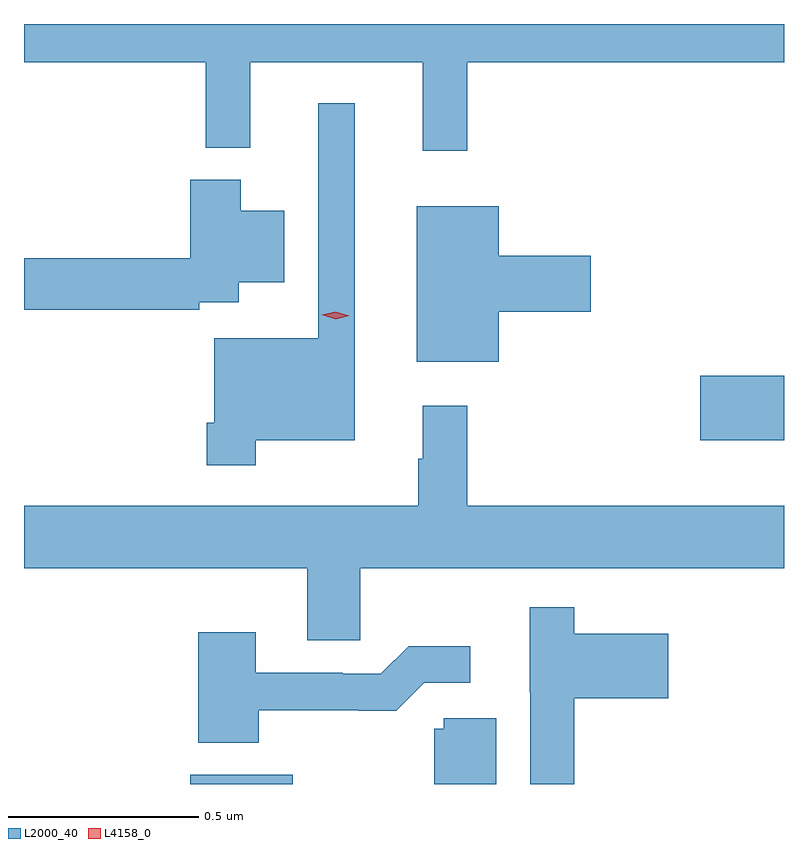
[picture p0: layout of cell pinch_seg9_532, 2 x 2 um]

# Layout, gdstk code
import gdstk
lib = gdstk.Library(unit=1e-6, precision=1e-09)
def R(c, l, rs):  # rectangles x0, y0, x1, y1
    for r in rs: c.add(gdstk.rectangle(r[:2], r[2:], *l))
def P(c, l, *ps):  # polygons
    for p in ps: c.add(gdstk.Polygon(p, *l))
L2000_40 = (2000, 40)
L4158_0 = (4158, 0)

pinch_seg9_532 = lib.new_cell('pinch_seg9_532')
R(pinch_seg9_532, L2000_40, [(273.68,1193.188,273.95,1193.212), (275.022,1194.092,275.243,1194.263)])
P(pinch_seg9_532, L2000_40, [(273.243,1195.088),(273.721,1195.088),(273.721,1194.863),(273.839,1194.863),(273.839,1195.088),(274.292,1195.088),(274.292,1194.855),(274.409,1194.855),(274.409,1195.088),(275.243,1195.088),(275.243,1195.188),(273.243,1195.188)],
  [(273.853,1194.092),(274.114,1194.092),(274.114,1194.979),(274.017,1194.979),(274.017,1194.361),(273.744,1194.361),(273.744,1194.139),(273.724,1194.139),(273.724,1194.027),(273.853,1194.027)],
  [(273.704,1194.456),(273.808,1194.456),(273.808,1194.509),(273.928,1194.509),(273.928,1194.697),(273.814,1194.697),(273.814,1194.778),(273.68,1194.778),(273.68,1194.572),(273.243,1194.572),(273.243,1194.436),(273.704,1194.436)],
  [(274.492,1194.431),(274.735,1194.431),(274.735,1194.578),(274.492,1194.578),(274.492,1194.709),(274.277,1194.709),(274.277,1194.299),(274.492,1194.299)],
  [(274.128,1193.756),(275.243,1193.756),(275.243,1193.92),(274.409,1193.92),(274.409,1194.184),(274.292,1194.184),(274.292,1194.044),(274.281,1194.044),(274.281,1193.92),(273.243,1193.92),(273.243,1193.756),(273.989,1193.756),(273.989,1193.566),(274.128,1193.566)],
  [(274.691,1193.414),(274.939,1193.414),(274.939,1193.584),(274.691,1193.584),(274.691,1193.653),(274.574,1193.653),(274.574,1193.43),(274.575,1193.43),(274.575,1193.188),(274.691,1193.188)],
  [(273.861,1193.382),(274.124,1193.382),(274.124,1193.381),(274.223,1193.381),(274.296,1193.454),(274.417,1193.454),(274.417,1193.551),(274.255,1193.551),(274.182,1193.478),(274.082,1193.478),(274.082,1193.481),(273.853,1193.481),(273.853,1193.587),(273.701,1193.587),(273.701,1193.297),(273.861,1193.297)],
  [(274.486,1193.361),(274.347,1193.361),(274.347,1193.334),(274.322,1193.334),(274.322,1193.188),(274.486,1193.188)])
P(pinch_seg9_532, L4158_0, [(274.063,1194.411),(274.027,1194.423),(274.027,1194.423),(274.027,1194.423),(274.064,1194.431),(274.099,1194.42),(274.099,1194.42),(274.099,1194.42)])

lib.write_gds('pinch_seg9_532.gds')
